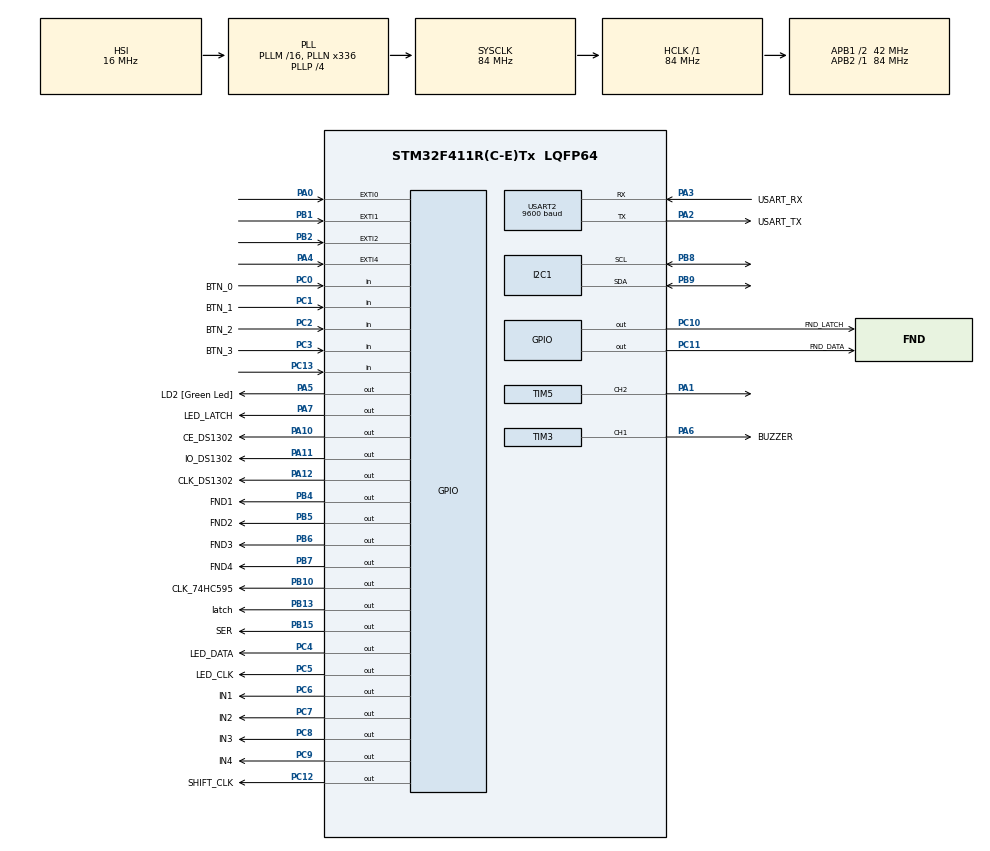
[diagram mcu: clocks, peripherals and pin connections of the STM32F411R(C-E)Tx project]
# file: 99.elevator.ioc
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FREERTOS.Tasks01=defaultTask,24,128,StartDefaultTask,Default,NULL,Dynamic,NULL,NULL;myTask02,8,128,StartTask02,Default,NULL,Dynamic,NULL,NULL;myTask03,8,128,StartTask03,Default,NULL,Dynamic,NULL,NULL;myTask04,8,128,StartTask04,Default,NULL,Dynamic,NULL,NULL
FREERTOS.configUSE_NEWLIB_REENTRANT=1
Mcu.Family=STM32F4
Mcu.Name=STM32F411R(C-E)Tx
Mcu.Package=LQFP64
NVIC.EXTI0_IRQn=true\:5\:0\:false\:false\:true\:true\:true\:true
NVIC.EXTI1_IRQn=true\:5\:0\:false\:false\:true\:true\:true\:true
NVIC.EXTI2_IRQn=true\:5\:0\:false\:false\:true\:true\:true\:true
NVIC.EXTI4_IRQn=true\:5\:0\:false\:false\:true\:true\:true\:true
NVIC.PriorityGroup=NVIC_PRIORITYGROUP_4
NVIC.TIM1_TRG_COM_TIM11_IRQn=true\:5\:0\:false\:false\:true\:true\:true\:true
NVIC.TIM1_UP_TIM10_IRQn=true\:0\:0\:false\:false\:true\:false\:false\:true
NVIC.TIM3_IRQn=true\:5\:0\:false\:false\:true\:true\:true\:true
NVIC.TIM5_IRQn=true\:5\:0\:false\:false\:true\:true\:true\:true
NVIC.TimeBase=TIM1_UP_TIM10_IRQn
NVIC.TimeBaseIP=TIM10
NVIC.USART2_IRQn=true\:5\:0\:false\:false\:true\:true\:true\:true
PA0-WKUP.Signal=GPXTI0
PA1.Signal=S_TIM5_CH2
PA10.GPIO_Label=CE_DS1302
PA10.Signal=GPIO_Output
PA11.GPIO_Label=IO_DS1302
PA11.Signal=GPIO_Output
PA12.GPIO_Label=CLK_DS1302
PA12.Signal=GPIO_Output
PA13.GPIO_Label=TMS
PA13.Mode=Serial_Wire
PA13.Signal=SYS_JTMS-SWDIO
PA14.GPIO_Label=TCK
PA14.Mode=Serial_Wire
PA14.Signal=SYS_JTCK-SWCLK
PA2.GPIO_Label=USART_TX
PA2.Mode=Asynchronous
PA2.Signal=USART2_TX
PA3.GPIO_Label=USART_RX
PA3.Mode=Asynchronous
PA3.Signal=USART2_RX
PA4.Signal=GPXTI4
PA5.GPIO_Label=LD2 [Green Led]
PA5.Signal=GPIO_Output
PA6.GPIO_Label=BUZZER
PA6.Signal=S_TIM3_CH1
PA7.GPIO_Label=LED_LATCH
PA7.Signal=GPIO_Output
PB1.Signal=GPXTI1
PB10.GPIO_Label=CLK_74HC595
PB10.Signal=GPIO_Output
PB13.GPIO_Label=latch
PB13.Signal=GPIO_Output
PB15.GPIO_Label=SER
PB15.Signal=GPIO_Output
PB2.Signal=GPXTI2
PB4.GPIO_Label=FND1
PB4.Signal=GPIO_Output
PB5.GPIO_Label=FND2
PB5.Signal=GPIO_Output
PB6.GPIO_Label=FND3
PB6.Signal=GPIO_Output
PB7.GPIO_Label=FND4
PB7.Signal=GPIO_Output
PB8.Mode=I2C
PB8.Signal=I2C1_SCL
PB9.Mode=I2C
PB9.Signal=I2C1_SDA
PC0.GPIO_Label=BTN_0
PC0.Signal=GPIO_Input
PC1.GPIO_Label=BTN_1
PC1.Signal=GPIO_Input
PC10.GPIO_Label=FND_LATCH
PC10.Signal=GPIO_Output
PC11.GPIO_Label=FND_DATA
PC11.Signal=GPIO_Output
PC12.GPIO_Label=SHIFT_CLK
PC12.Signal=GPIO_Output
PC13-ANTI_TAMP.Signal=GPIO_Input
PC14-OSC32_IN.Mode=LSE-External-Oscillator
PC14-OSC32_IN.Signal=RCC_OSC32_IN
PC15-OSC32_OUT.Mode=LSE-External-Oscillator
PC15-OSC32_OUT.Signal=RCC_OSC32_OUT
PC2.GPIO_Label=BTN_2
PC2.Signal=GPIO_Input
PC3.GPIO_Label=BTN_3
PC3.Signal=GPIO_Input
PC4.GPIO_Label=LED_DATA
PC4.Signal=GPIO_Output
PC5.GPIO_Label=LED_CLK
PC5.Signal=GPIO_Output
PC6.GPIO_Label=IN1
PC6.Signal=GPIO_Output
PC7.GPIO_Label=IN2
PC7.Signal=GPIO_Output
PC8.GPIO_Label=IN3
PC8.Signal=GPIO_Output
PC9.GPIO_Label=IN4
PC9.Signal=GPIO_Output
PH0\ -\ OSC_IN.Mode=HSE-External-Clock-Source
PH0\ -\ OSC_IN.Signal=RCC_OSC_IN
PH1\ -\ OSC_OUT.Mode=HSE-External-Clock-Source
PH1\ -\ OSC_OUT.Signal=RCC_OSC_OUT
ProjectManager.HeapSize=0x200
ProjectManager.StackSize=0x400
ProjectManager.TargetToolchain=STM32CubeIDE
RCC.48MHZClocksFreq_Value=84000000
RCC.AHBFreq_Value=84000000
RCC.APB1CLKDivider=RCC_HCLK_DIV2
RCC.APB1Freq_Value=42000000
RCC.APB1TimFreq_Value=84000000
RCC.APB2Freq_Value=84000000
RCC.APB2TimFreq_Value=84000000
RCC.CortexFreq_Value=84000000
RCC.FLatency-AdvancedSettings=FLASH_LATENCY_2
RCC.HCLKFreq_Value=84000000
RCC.HSE_VALUE=8000000
RCC.HSI_VALUE=16000000
RCC.PLLN=336
RCC.PLLP=RCC_PLLP_DIV4
RCC.SYSCLKFreq_VALUE=84000000
RCC.SYSCLKSource=RCC_SYSCLKSOURCE_PLLCLK
RCC.VCOOutputFreq_Value=336000000
SH.S_TIM3_CH1.0=TIM3_CH1,PWM Generation1 CH1
SH.S_TIM5_CH2.0=TIM5_CH2,PWM Generation2 CH2
TIM11.Period=1000-1
TIM11.Prescaler=84-1
TIM2.Prescaler=84-1
TIM3.Channel-PWM\ Generation1\ CH1=TIM_CHANNEL_1
TIM3.Period=400-1
TIM3.Prescaler=52.5-1
TIM3.Pulse-PWM\ Generation1\ CH1=200-1
TIM5.Channel-PWM\ Generation2\ CH2=TIM_CHANNEL_2
TIM5.Period=1000-1
TIM5.Prescaler=1680-1
USART2.BaudRate=9600
USART2.VirtualMode=VM_ASYNC
VP_FREERTOS_VS_CMSIS_V2.Mode=CMSIS_V2
VP_SYS_VS_tim10.Mode=TIM10
VP_TIM11_VS_ClockSourceINT.Mode=Enable_Timer
VP_TIM2_VS_ClockSourceINT.Mode=Internal
VP_TIM3_VS_ClockSourceINT.Mode=Internal
board=NUCLEO-F411RE

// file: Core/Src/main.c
/* USER CODE BEGIN Header */
/**
  ******************************************************************************
  * @file           : main.c
  * @brief          : Main program body
  ******************************************************************************
  * @attention
  *
  * <h2><center>&copy; Copyright (c) 2025 STMicroelectronics.
  * All rights reserved.</center></h2>
  *
  * This software component is licensed by ST under BSD 3-Clause license,
  * the "License"; You may not use this file except in compliance with the
  * License. You may obtain a copy of the License at:
  *                        opensource.org/licenses/BSD-3-Clause
  *
  ******************************************************************************
  */
/* USER CODE END Header */
#include "main.h"
#include "cmsis_os.h"

/* USER CODE BEGIN Includes */
#include "extern.h"
/* USER CODE END Includes */

I2C_HandleTypeDef hi2c1;

TIM_HandleTypeDef htim2;
TIM_HandleTypeDef htim3;
TIM_HandleTypeDef htim5;
TIM_HandleTypeDef htim11;

UART_HandleTypeDef huart2;

/* Definitions for defaultTask */
osThreadId_t defaultTaskHandle;
const osThreadAttr_t defaultTask_attributes = {
  .name = "defaultTask",
  .stack_size = 128 * 4,
  .priority = (osPriority_t) osPriorityNormal,
};
/* Definitions for myTask02 */
osThreadId_t myTask02Handle;
const osThreadAttr_t myTask02_attributes = {
  .name = "myTask02",
  .stack_size = 128 * 4,
  .priority = (osPriority_t) osPriorityLow,
};
/* Definitions for myTask03 */
osThreadId_t myTask03Handle;
const osThreadAttr_t myTask03_attributes = {
  .name = "myTask03",
  .stack_size = 128 * 4,
  .priority = (osPriority_t) osPriorityLow,
};
/* Definitions for myTask04 */
osThreadId_t myTask04Handle;
const osThreadAttr_t myTask04_attributes = {
  .name = "myTask04",
  .stack_size = 128 * 4,
  .priority = (osPriority_t) osPriorityLow,
};
/* USER CODE BEGIN PV */
uint8_t rx_data;  //uart2 rx byte
volatile int TIM11_1ms_counter=0;
volatile int buzzer_timer=0;
volatile int TIM11_keypad_scan_timer=0;
volatile int led_time=0;

/* USER CODE END PV */

void SystemClock_Config(void);
static void MX_GPIO_Init(void);
static void MX_USART2_UART_Init(void);
static void MX_TIM11_Init(void);
static void MX_TIM2_Init(void);
static void MX_TIM3_Init(void);
static void MX_I2C1_Init(void);
static void MX_TIM5_Init(void);
void StartDefaultTask(void *argument);
void StartTask02(void *argument);
void StartTask03(void *argument);
void StartTask04(void *argument);

/* USER CODE BEGIN 0 */
#ifdef __GNUC__    // Add for printf
/* With GCC, small printf (option LD Linker->Libraries->Small printf
   set to 'Yes') calls __io_putchar() */
#define PUTCHAR_PROTOTYPE int __io_putchar(int ch)
#else
#define PUTCHAR_PROTOTYPE int fputc(int ch, FILE *f)
#endif /* __GNUC__ */
/**
  * @brief  Retargets the C library printf function to the USART.
  * @param  None
  * @retval None
  */
PUTCHAR_PROTOTYPE   // Add for printf
{
  /* Place your implementation of fputc here */
  /* e.g. write a character to the USART3 and Loop until the end of transmission */
  HAL_UART_Transmit(&huart2, (uint8_t *)&ch, 1, 0xFFFF);

  return ch;
}
/* USER CODE END 0 */

int main(void)
{

  /* MCU Configuration--------------------------------------------------------*/

  /* Reset of all peripherals, Initializes the Flash interface and the Systick. */
  HAL_Init();

  /* Configure the system clock */
  SystemClock_Config();

  /* Initialize all configured peripherals */
  MX_GPIO_Init();
  MX_USART2_UART_Init();
  MX_TIM11_Init();
  MX_TIM2_Init();
  MX_TIM3_Init();
  MX_I2C1_Init();
  MX_TIM5_Init();
  /* USER CODE BEGIN 2 */

  *(unsigned int*)0x4002080C|=0b01010101; // pull up setting
  HAL_UART_Receive_IT(&huart2, &rx_data,1);
  HAL_TIM_Base_Start_IT(&htim11);
  HAL_TIM_Base_Start_IT(&htim2);  // delay_us make
  i2c_lcd_init();
  //keypadInit();

  //fnd_main();
  //stepmotor_main();
  //simple_calc();
  //dht_test();
  //led_main();
  //dotmatrix_main_test();
  //ds1302_main();
  //servo_motor_main();
  //i2c_lcd_main();
  //buzzer_main();
  //dotmatrix_main_up();
  /* USER CODE END 2 */

  /* Init scheduler */
  osKernelInitialize();

  /* Create the thread(s) */
  /* creation of defaultTask */
  defaultTaskHandle = osThreadNew(StartDefaultTask, NULL, &defaultTask_attributes);

  /* creation of myTask02 */
  myTask02Handle = osThreadNew(StartTask02, NULL, &myTask02_attributes);

  /* creation of myTask03 */
  myTask03Handle = osThreadNew(StartTask03, NULL, &myTask03_attributes);

  /* creation of myTask04 */
  myTask04Handle = osThreadNew(StartTask04, NULL, &myTask04_attributes);

  /* Start scheduler */
  osKernelStart();

  /* We should never get here as control is now taken by the scheduler */
  /* Infinite loop */
  /* USER CODE BEGIN WHILE */
  while (1)
  {

	 // button_led_toggle_test();
    /* USER CODE END WHILE */

  }
}

void SystemClock_Config(void)
{
  RCC_OscInitTypeDef RCC_OscInitStruct = {0};
  RCC_ClkInitTypeDef RCC_ClkInitStruct = {0};

  /** Configure the main internal regulator output voltage
  */
  __HAL_RCC_PWR_CLK_ENABLE();
  __HAL_PWR_VOLTAGESCALING_CONFIG(PWR_REGULATOR_VOLTAGE_SCALE1);
  /** Initializes the RCC Oscillators according to the specified parameters
  * in the RCC_OscInitTypeDef structure.
  */
  RCC_OscInitStruct.OscillatorType = RCC_OSCILLATORTYPE_HSI;
  RCC_OscInitStruct.HSIState = RCC_HSI_ON;
  RCC_OscInitStruct.HSICalibrationValue = RCC_HSICALIBRATION_DEFAULT;
  RCC_OscInitStruct.PLL.PLLState = RCC_PLL_ON;
  RCC_OscInitStruct.PLL.PLLSource = RCC_PLLSOURCE_HSI;
  RCC_OscInitStruct.PLL.PLLM = 16;
  RCC_OscInitStruct.PLL.PLLN = 336;
  RCC_OscInitStruct.PLL.PLLP = RCC_PLLP_DIV4;
  RCC_OscInitStruct.PLL.PLLQ = 4;
  if (HAL_RCC_OscConfig(&RCC_OscInitStruct) != HAL_OK)
  {
    Error_Handler();
  }
  /** Initializes the CPU, AHB and APB buses clocks
  */
  RCC_ClkInitStruct.ClockType = RCC_CLOCKTYPE_HCLK|RCC_CLOCKTYPE_SYSCLK
                              |RCC_CLOCKTYPE_PCLK1|RCC_CLOCKTYPE_PCLK2;
  RCC_ClkInitStruct.SYSCLKSource = RCC_SYSCLKSOURCE_PLLCLK;
  RCC_ClkInitStruct.AHBCLKDivider = RCC_SYSCLK_DIV1;
  RCC_ClkInitStruct.APB1CLKDivider = RCC_HCLK_DIV2;
  RCC_ClkInitStruct.APB2CLKDivider = RCC_HCLK_DIV1;

  if (HAL_RCC_ClockConfig(&RCC_ClkInitStruct, FLASH_LATENCY_2) != HAL_OK)
  {
    Error_Handler();
  }
}

static void MX_I2C1_Init(void)
{

  hi2c1.Instance = I2C1;
  hi2c1.Init.ClockSpeed = 100000;
  hi2c1.Init.DutyCycle = I2C_DUTYCYCLE_2;
  hi2c1.Init.OwnAddress1 = 0;
  hi2c1.Init.AddressingMode = I2C_ADDRESSINGMODE_7BIT;
  hi2c1.Init.DualAddressMode = I2C_DUALADDRESS_DISABLE;
  hi2c1.Init.OwnAddress2 = 0;
  hi2c1.Init.GeneralCallMode = I2C_GENERALCALL_DISABLE;
  hi2c1.Init.NoStretchMode = I2C_NOSTRETCH_DISABLE;
  if (HAL_I2C_Init(&hi2c1) != HAL_OK)
  {
    Error_Handler();
  }

}

static void MX_TIM2_Init(void)
{

  TIM_ClockConfigTypeDef sClockSourceConfig = {0};
  TIM_MasterConfigTypeDef sMasterConfig = {0};

  htim2.Instance = TIM2;
  htim2.Init.Prescaler = 84-1;
  htim2.Init.CounterMode = TIM_COUNTERMODE_UP;
  htim2.Init.Period = 4294967295;
  htim2.Init.ClockDivision = TIM_CLOCKDIVISION_DIV1;
  htim2.Init.AutoReloadPreload = TIM_AUTORELOAD_PRELOAD_DISABLE;
  if (HAL_TIM_Base_Init(&htim2) != HAL_OK)
  {
    Error_Handler();
  }
  sClockSourceConfig.ClockSource = TIM_CLOCKSOURCE_INTERNAL;
  if (HAL_TIM_ConfigClockSource(&htim2, &sClockSourceConfig) != HAL_OK)
  {
    Error_Handler();
  }
  sMasterConfig.MasterOutputTrigger = TIM_TRGO_RESET;
  sMasterConfig.MasterSlaveMode = TIM_MASTERSLAVEMODE_DISABLE;
  if (HAL_TIMEx_MasterConfigSynchronization(&htim2, &sMasterConfig) != HAL_OK)
  {
    Error_Handler();
  }

}

static void MX_TIM3_Init(void)
{

  TIM_ClockConfigTypeDef sClockSourceConfig = {0};
  TIM_MasterConfigTypeDef sMasterConfig = {0};
  TIM_OC_InitTypeDef sConfigOC = {0};

  htim3.Instance = TIM3;
  htim3.Init.Prescaler = 52.5-1;
  htim3.Init.CounterMode = TIM_COUNTERMODE_UP;
  htim3.Init.Period = 400-1;
  htim3.Init.ClockDivision = TIM_CLOCKDIVISION_DIV1;
  htim3.Init.AutoReloadPreload = TIM_AUTORELOAD_PRELOAD_DISABLE;
  if (HAL_TIM_Base_Init(&htim3) != HAL_OK)
  {
    Error_Handler();
  }
  sClockSourceConfig.ClockSource = TIM_CLOCKSOURCE_INTERNAL;
  if (HAL_TIM_ConfigClockSource(&htim3, &sClockSourceConfig) != HAL_OK)
  {
    Error_Handler();
  }
  if (HAL_TIM_PWM_Init(&htim3) != HAL_OK)
  {
    Error_Handler();
  }
  sMasterConfig.MasterOutputTrigger = TIM_TRGO_RESET;
  sMasterConfig.MasterSlaveMode = TIM_MASTERSLAVEMODE_DISABLE;
  if (HAL_TIMEx_MasterConfigSynchronization(&htim3, &sMasterConfig) != HAL_OK)
  {
    Error_Handler();
  }
  sConfigOC.OCMode = TIM_OCMODE_PWM1;
  sConfigOC.Pulse = 200-1;
  sConfigOC.OCPolarity = TIM_OCPOLARITY_HIGH;
  sConfigOC.OCFastMode = TIM_OCFAST_DISABLE;
  if (HAL_TIM_PWM_ConfigChannel(&htim3, &sConfigOC, TIM_CHANNEL_1) != HAL_OK)
  {
    Error_Handler();
  }
  HAL_TIM_MspPostInit(&htim3);

}

static void MX_TIM5_Init(void)
{

  TIM_MasterConfigTypeDef sMasterConfig = {0};
  TIM_OC_InitTypeDef sConfigOC = {0};

  htim5.Instance = TIM5;
  htim5.Init.Prescaler = 1680-1;
  htim5.Init.CounterMode = TIM_COUNTERMODE_UP;
  htim5.Init.Period = 1000-1;
  htim5.Init.ClockDivision = TIM_CLOCKDIVISION_DIV1;
  htim5.Init.AutoReloadPreload = TIM_AUTORELOAD_PRELOAD_DISABLE;
  if (HAL_TIM_PWM_Init(&htim5) != HAL_OK)
  {
    Error_Handler();
  }
  sMasterConfig.MasterOutputTrigger = TIM_TRGO_RESET;
  sMasterConfig.MasterSlaveMode = TIM_MASTERSLAVEMODE_DISABLE;
  if (HAL_TIMEx_MasterConfigSynchronization(&htim5, &sMasterConfig) != HAL_OK)
  {
    Error_Handler();
  }
  sConfigOC.OCMode = TIM_OCMODE_PWM1;
  sConfigOC.Pulse = 0;
  sConfigOC.OCPolarity = TIM_OCPOLARITY_HIGH;
  sConfigOC.OCFastMode = TIM_OCFAST_DISABLE;
  if (HAL_TIM_PWM_ConfigChannel(&htim5, &sConfigOC, TIM_CHANNEL_2) != HAL_OK)
  {
    Error_Handler();
  }
  HAL_TIM_MspPostInit(&htim5);

}

static void MX_TIM11_Init(void)
{

  htim11.Instance = TIM11;
  htim11.Init.Prescaler = 84-1;
  htim11.Init.CounterMode = TIM_COUNTERMODE_UP;
  htim11.Init.Period = 1000-1;
  htim11.Init.ClockDivision = TIM_CLOCKDIVISION_DIV1;
  htim11.Init.AutoReloadPreload = TIM_AUTORELOAD_PRELOAD_DISABLE;
  if (HAL_TIM_Base_Init(&htim11) != HAL_OK)
  {
    Error_Handler();
  }

}

static void MX_USART2_UART_Init(void)
{

  huart2.Instance = USART2;
  huart2.Init.BaudRate = 9600;
  huart2.Init.WordLength = UART_WORDLENGTH_8B;
  huart2.Init.StopBits = UART_STOPBITS_1;
  huart2.Init.Parity = UART_PARITY_NONE;
  huart2.Init.Mode = UART_MODE_TX_RX;
  huart2.Init.HwFlowCtl = UART_HWCONTROL_NONE;
  huart2.Init.OverSampling = UART_OVERSAMPLING_16;
  if (HAL_UART_Init(&huart2) != HAL_OK)
  {
    Error_Handler();
  }

}

static void MX_GPIO_Init(void)
{
  GPIO_InitTypeDef GPIO_InitStruct = {0};

  /* GPIO Ports Clock Enable */
  __HAL_RCC_GPIOC_CLK_ENABLE();
  __HAL_RCC_GPIOH_CLK_ENABLE();
  __HAL_RCC_GPIOA_CLK_ENABLE();
  __HAL_RCC_GPIOB_CLK_ENABLE();

  /*Configure GPIO pin Output Level */
  HAL_GPIO_WritePin(GPIOA, LD2_Pin|LED_LATCH_Pin|CE_DS1302_Pin|IO_DS1302_Pin
                          |CLK_DS1302_Pin, GPIO_PIN_RESET);

  /*Configure GPIO pin Output Level */
  HAL_GPIO_WritePin(GPIOC, LED_DATA_Pin|LED_CLK_Pin|IN1_Pin|IN2_Pin
                          |IN3_Pin|IN4_Pin|FND_LATCH_Pin|FND_DATA_Pin
                          |SHIFT_CLK_Pin, GPIO_PIN_RESET);

  /*Configure GPIO pin Output Level */
  HAL_GPIO_WritePin(GPIOB, CLK_74HC595_Pin|latch_Pin|SER_Pin|FND1_Pin
                          |FND2_Pin|FND3_Pin|FND4_Pin, GPIO_PIN_RESET);

  /*Configure GPIO pins : PC13 BTN_0_Pin BTN_1_Pin BTN_2_Pin
                           BTN_3_Pin */
  GPIO_InitStruct.Pin = GPIO_PIN_13|BTN_0_Pin|BTN_1_Pin|BTN_2_Pin
                          |BTN_3_Pin;
  GPIO_InitStruct.Mode = GPIO_MODE_INPUT;
  GPIO_InitStruct.Pull = GPIO_NOPULL;
  HAL_GPIO_Init(GPIOC, &GPIO_InitStruct);

  /*Configure GPIO pins : PA0 PA4 */
  GPIO_InitStruct.Pin = GPIO_PIN_0|GPIO_PIN_4;
  GPIO_InitStruct.Mode = GPIO_MODE_IT_RISING;
  GPIO_InitStruct.Pull = GPIO_NOPULL;
  HAL_GPIO_Init(GPIOA, &GPIO_InitStruct);

  /*Configure GPIO pins : LD2_Pin LED_LATCH_Pin CE_DS1302_Pin IO_DS1302_Pin
                           CLK_DS1302_Pin */
  GPIO_InitStruct.Pin = LD2_Pin|LED_LATCH_Pin|CE_DS1302_Pin|IO_DS1302_Pin
                          |CLK_DS1302_Pin;
  GPIO_InitStruct.Mode = GPIO_MODE_OUTPUT_PP;
  GPIO_InitStruct.Pull = GPIO_NOPULL;
  GPIO_InitStruct.Speed = GPIO_SPEED_FREQ_LOW;
  HAL_GPIO_Init(GPIOA, &GPIO_InitStruct);

  /*Configure GPIO pins : LED_DATA_Pin LED_CLK_Pin IN1_Pin IN2_Pin
                           IN3_Pin IN4_Pin FND_LATCH_Pin FND_DATA_Pin
                           SHIFT_CLK_Pin */
  GPIO_InitStruct.Pin = LED_DATA_Pin|LED_CLK_Pin|IN1_Pin|IN2_Pin
                          |IN3_Pin|IN4_Pin|FND_LATCH_Pin|FND_DATA_Pin
                          |SHIFT_CLK_Pin;
  GPIO_InitStruct.Mode = GPIO_MODE_OUTPUT_PP;
  GPIO_InitStruct.Pull = GPIO_NOPULL;
  GPIO_InitStruct.Speed = GPIO_SPEED_FREQ_LOW;
  HAL_GPIO_Init(GPIOC, &GPIO_InitStruct);

  /*Configure GPIO pins : PB1 PB2 */
  GPIO_InitStruct.Pin = GPIO_PIN_1|GPIO_PIN_2;
  GPIO_InitStruct.Mode = GPIO_MODE_IT_RISING;
  GPIO_InitStruct.Pull = GPIO_NOPULL;
  HAL_GPIO_Init(GPIOB, &GPIO_InitStruct);

  /*Configure GPIO pins : CLK_74HC595_Pin latch_Pin SER_Pin FND1_Pin
                           FND2_Pin FND3_Pin FND4_Pin */
  GPIO_InitStruct.Pin = CLK_74HC595_Pin|latch_Pin|SER_Pin|FND1_Pin
                          |FND2_Pin|FND3_Pin|FND4_Pin;
  GPIO_InitStruct.Mode = GPIO_MODE_OUTPUT_PP;
  GPIO_InitStruct.Pull = GPIO_NOPULL;
  GPIO_InitStruct.Speed = GPIO_SPEED_FREQ_LOW;
  HAL_GPIO_Init(GPIOB, &GPIO_InitStruct);

  /* EXTI interrupt init*/
  HAL_NVIC_SetPriority(EXTI0_IRQn, 5, 0);
  HAL_NVIC_EnableIRQ(EXTI0_IRQn);

  HAL_NVIC_SetPriority(EXTI1_IRQn, 5, 0);
  HAL_NVIC_EnableIRQ(EXTI1_IRQn);

  HAL_NVIC_SetPriority(EXTI2_IRQn, 5, 0);
  HAL_NVIC_EnableIRQ(EXTI2_IRQn);

  HAL_NVIC_SetPriority(EXTI4_IRQn, 5, 0);
  HAL_NVIC_EnableIRQ(EXTI4_IRQn);

}

void StartDefaultTask(void *argument)
{
  /* USER CODE BEGIN 5 */
  /* Infinite loop */
  for(;;)
  {
	  stepmotor_main();
	 osDelay(1);
  }
  /* USER CODE END 5 */
}

void StartTask02(void *argument)
{
  /* USER CODE BEGIN StartTask02 */
  /* Infinite loop */
  for(;;)
  {
	  dotmatrix_main_up();

  }
  /* USER CODE END StartTask02 */
}

void StartTask03(void *argument)
{
  /* USER CODE BEGIN StartTask03 */
  /* Infinite loop */
  for(;;)
  {

	  fnd_main(current_floor+1);
  }
  /* USER CODE END StartTask03 */
}

void StartTask04(void *argument)
{
  /* USER CODE BEGIN StartTask04 */
  /* Infinite loop */
  for(;;)
  {

	  ds1302_main();
	  led_main();
  }
  /* USER CODE END StartTask04 */
}

void HAL_TIM_PeriodElapsedCallback(TIM_HandleTypeDef *htim)
{
  if (htim->Instance == TIM10) {
    HAL_IncTick();
  }
  /* USER CODE BEGIN Callback 1 */
  if (htim->Instance == TIM11) {
	  TIM11_1ms_counter++;
	  buzzer_timer++;
	  led_time++;
	  TIM11_keypad_scan_timer++;
	  if(TIM11_keypad_scan_timer>=60)
	  {
		  unsigned char key_value;

		  TIM11_keypad_scan_timer=0;
		  key_value=keypadScan();
		  if(key_value)
			  insert_queue(key_value);
	  }
    }
  /* USER CODE END Callback 1 */
}

void Error_Handler(void)
{
  __disable_irq();
  while (1)
  {
  }
}

/************************ (C) COPYRIGHT STMicroelectronics *****END OF FILE****/
